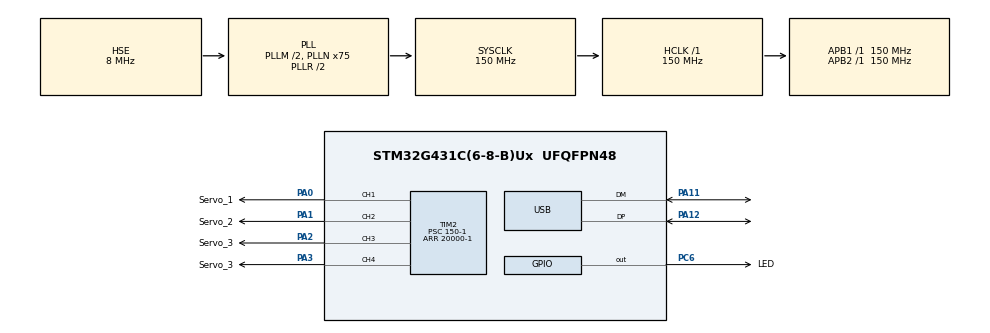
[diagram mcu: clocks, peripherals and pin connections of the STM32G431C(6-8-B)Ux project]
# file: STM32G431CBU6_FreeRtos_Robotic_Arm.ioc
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FREERTOS.CountingSemaphores01=Moving_Lock,4,Dynamic,NULL
FREERTOS.Mutexes01=Load_Mutex,Dynamic,NULL
FREERTOS.Queues01=Base_Servo_Angele,1,uint8_t,0,Dynamic,NULL,NULL;Joint1_Servo_Angle,1,uint8_t,0,Dynamic,NULL,NULL;Joint2_Servo_Angle,1,uint8_t,0,Dynamic,NULL,NULL;Gripper_Servo_Angle,1,uint8_t,0,Dynamic,NULL,NULL
FREERTOS.Tasks01=Angle_Cal,24,128,Angle_Cal_Task,Default,NULL,Dynamic,NULL,NULL;Servo_Base,16,64,Servo_Base_Task,Default,NULL,Dynamic,NULL,NULL;Servo_Joint_1,16,64,Servo_Joint_1_Task,Default,NULL,Dynamic,NULL,NULL;Servo_Gripper,16,64,Servo_Gripper_Task,Default,NULL,Dynamic,NULL,NULL;Servo_Joint_2,16,64,Servo_Joint_2_Task,Default,NULL,Dynamic,NULL,NULL
FREERTOS.configCHECK_FOR_STACK_OVERFLOW=1
FREERTOS.configMINIMAL_STACK_SIZE=64
FREERTOS.configUSE_IDLE_HOOK=0
FREERTOS.configUSE_MALLOC_FAILED_HOOK=1
Mcu.Family=STM32G4
Mcu.Name=STM32G431C(6-8-B)Ux
Mcu.Package=UFQFPN48
NVIC.PriorityGroup=NVIC_PRIORITYGROUP_4
NVIC.TIM7_IRQn=true\:15\:0\:false\:false\:true\:false\:false\:true\:true
NVIC.TimeBase=TIM7_IRQn
NVIC.TimeBaseIP=TIM7
NVIC.USB_HP_IRQn=true\:5\:0\:false\:false\:true\:true\:true\:true\:true
NVIC.USB_LP_IRQn=true\:5\:0\:false\:false\:true\:true\:false\:true\:true
PA0.GPIO_Label=Servo_1
PA0.Signal=S_TIM2_CH1
PA1.GPIO_Label=Servo_2
PA1.Signal=S_TIM2_CH2
PA11.Mode=Device
PA11.Signal=USB_DM
PA12.Mode=Device
PA12.Signal=USB_DP
PA13.Mode=Serial_Wire
PA13.Signal=SYS_JTMS-SWDIO
PA14.Mode=Serial_Wire
PA14.Signal=SYS_JTCK-SWCLK
PA2.GPIO_Label=Servo_3
PA2.Signal=S_TIM2_CH3
PA3.GPIO_Label=Servo_3
PA3.Signal=S_TIM2_CH4
PC6.GPIO_Label=LED
PC6.Signal=GPIO_Output
PF0-OSC_IN.Mode=HSE-External-Oscillator
PF0-OSC_IN.Signal=RCC_OSC_IN
PF1-OSC_OUT.Mode=HSE-External-Oscillator
PF1-OSC_OUT.Signal=RCC_OSC_OUT
ProjectManager.HeapSize=0x200
ProjectManager.StackSize=0x400
ProjectManager.TargetToolchain=STM32CubeIDE
RCC.ADC12Freq_Value=150000000
RCC.AHBFreq_Value=150000000
RCC.APB1Freq_Value=150000000
RCC.APB1TimFreq_Value=150000000
RCC.APB2Freq_Value=150000000
RCC.APB2TimFreq_Value=150000000
RCC.CK48CLockSelection=RCC_USBCLKSOURCE_HSI48
RCC.CortexFreq_Value=150000000
RCC.EXTERNAL_CLOCK_VALUE=12288000
RCC.HCLKFreq_Value=150000000
RCC.HSE_VALUE=8000000
RCC.HSI48_VALUE=48000000
RCC.HSI_VALUE=16000000
RCC.LSE_VALUE=32768
RCC.PLLM=RCC_PLLM_DIV2
RCC.PLLN=75
RCC.PLLSourceVirtual=RCC_PLLSOURCE_HSE
RCC.SYSCLKFreq_VALUE=150000000
RCC.SYSCLKSource=RCC_SYSCLKSOURCE_PLLCLK
RCC.USBFreq_Value=48000000
RCC.VCOOutputFreq_Value=300000000
SH.S_TIM2_CH1.0=TIM2_CH1,PWM Generation1 CH1
SH.S_TIM2_CH2.0=TIM2_CH2,PWM Generation2 CH2
SH.S_TIM2_CH3.0=TIM2_CH3,PWM Generation3 CH3
SH.S_TIM2_CH4.0=TIM2_CH4,PWM Generation4 CH4
TIM2.AutoReloadPreload=TIM_AUTORELOAD_PRELOAD_ENABLE
TIM2.Channel-PWM\ Generation1\ CH1=TIM_CHANNEL_1
TIM2.Channel-PWM\ Generation2\ CH2=TIM_CHANNEL_2
TIM2.Channel-PWM\ Generation3\ CH3=TIM_CHANNEL_3
TIM2.Channel-PWM\ Generation4\ CH4=TIM_CHANNEL_4
TIM2.PeriodNoDither=20000-1
TIM2.Prescaler=150-1
USB_DEVICE.CLASS_NAME_FS=CDC
USB_DEVICE.PRODUCT_STRING_CDC_FS=Robotic_Arm
USB_DEVICE.VirtualMode=Cdc
USB_DEVICE.VirtualModeFS=Cdc_FS
VP_FREERTOS_VS_CMSIS_V2.Mode=CMSIS_V2
VP_SYS_VS_DBSignals.Mode=DisableDeadBatterySignals
VP_SYS_VS_tim7.Mode=TIM7
VP_TIM2_VS_ClockSourceINT.Mode=Internal
VP_USB_DEVICE_VS_USB_DEVICE_CDC_FS.Mode=CDC_FS
board=custom

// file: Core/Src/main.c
/* USER CODE BEGIN Header */
/**
  ******************************************************************************
  * @file           : main.c
  * @brief          : Main program body
  ******************************************************************************
  * @attention
  *
  * Copyright (c) 2024 STMicroelectronics.
  * All rights reserved.
  *
  * This software is licensed under terms that can be found in the LICENSE file
  * in the root directory of this software component.
  * If no LICENSE file comes with this software, it is provided AS-IS.
  *
  ******************************************************************************
  */
/* USER CODE END Header */
#include "main.h"
#include "cmsis_os.h"
#include "usb_device.h"

/* USER CODE BEGIN Includes */
#include "usbd_cdc_if.h"
#include "string.h"
#include "semphr.h"
#include "FreeRTOS.h"
/* USER CODE END Includes */

/* USER CODE BEGIN PD */
#define Servo_no_Base 	 	 1
#define Servo_no_1 		 	 2
#define Servo_no_2 		 	 3
#define Servo_no_Gripper 	 4
/* USER CODE END PD */

/* USER CODE BEGIN PM */
#define PI 3.14159265358979323846
/* USER CODE END PM */

TIM_HandleTypeDef htim2;

/* Definitions for Angle_Cal */
osThreadId_t Angle_CalHandle;
const osThreadAttr_t Angle_Cal_attributes = {
  .name = "Angle_Cal",
  .priority = (osPriority_t) osPriorityNormal,
  .stack_size = 128 * 4
};
/* Definitions for Servo_Base */
osThreadId_t Servo_BaseHandle;
const osThreadAttr_t Servo_Base_attributes = {
  .name = "Servo_Base",
  .priority = (osPriority_t) osPriorityBelowNormal,
  .stack_size = 64 * 4
};
/* Definitions for Servo_Joint_1 */
osThreadId_t Servo_Joint_1Handle;
const osThreadAttr_t Servo_Joint_1_attributes = {
  .name = "Servo_Joint_1",
  .priority = (osPriority_t) osPriorityBelowNormal,
  .stack_size = 64 * 4
};
/* Definitions for Servo_Gripper */
osThreadId_t Servo_GripperHandle;
const osThreadAttr_t Servo_Gripper_attributes = {
  .name = "Servo_Gripper",
  .priority = (osPriority_t) osPriorityBelowNormal,
  .stack_size = 64 * 4
};
/* Definitions for Servo_Joint_2 */
osThreadId_t Servo_Joint_2Handle;
const osThreadAttr_t Servo_Joint_2_attributes = {
  .name = "Servo_Joint_2",
  .priority = (osPriority_t) osPriorityBelowNormal,
  .stack_size = 64 * 4
};
/* Definitions for Base_Servo_Angele */
osMessageQueueId_t Base_Servo_AngeleHandle;
const osMessageQueueAttr_t Base_Servo_Angele_attributes = {
  .name = "Base_Servo_Angele"
};
/* Definitions for Joint1_Servo_Angle */
osMessageQueueId_t Joint1_Servo_AngleHandle;
const osMessageQueueAttr_t Joint1_Servo_Angle_attributes = {
  .name = "Joint1_Servo_Angle"
};
/* Definitions for Joint2_Servo_Angle */
osMessageQueueId_t Joint2_Servo_AngleHandle;
const osMessageQueueAttr_t Joint2_Servo_Angle_attributes = {
  .name = "Joint2_Servo_Angle"
};
/* Definitions for Gripper_Servo_Angle */
osMessageQueueId_t Gripper_Servo_AngleHandle;
const osMessageQueueAttr_t Gripper_Servo_Angle_attributes = {
  .name = "Gripper_Servo_Angle"
};
/* Definitions for Load_Mutex */
osMutexId_t Load_MutexHandle;
const osMutexAttr_t Load_Mutex_attributes = {
  .name = "Load_Mutex"
};
/* Definitions for Moving_Lock */
osSemaphoreId_t Moving_LockHandle;
const osSemaphoreAttr_t Moving_Lock_attributes = {
  .name = "Moving_Lock"
};
/* USER CODE BEGIN PV */
uint8_t Raw_VCP_Data[64];
uint8_t Vcp_Data_Available = 0;
uint8_t Servo_Angeles[4];
uint8_t Axis_Points[3];
osStatus_t status_base,status_1,status_2,status_Gripper;

double Px, Py, Pz; 			     						// Target Position
double L1 = 65.0, L2 = 75.0 , L3 = 75.0; 				// Connection Lenght
double theta1, theta2, theta3;  						// Joint Angle

/* USER CODE END PV */

void SystemClock_Config(void);
static void MX_GPIO_Init(void);
static void MX_TIM2_Init(void);
void Angle_Cal_Task(void *argument);
void Servo_Base_Task(void *argument);
void Servo_Joint_1_Task(void *argument);
void Servo_Gripper_Task(void *argument);
void Servo_Joint_2_Task(void *argument);

int main(void)
{

  /* MCU Configuration--------------------------------------------------------*/

  /* Reset of all peripherals, Initializes the Flash interface and the Systick. */
  HAL_Init();

  /* Configure the system clock */
  SystemClock_Config();

  /* Initialize all configured peripherals */
  MX_GPIO_Init();
  MX_TIM2_Init();

  /* Init scheduler */
  osKernelInitialize();
  /* Create the mutex(es) */
  /* creation of Load_Mutex */
  Load_MutexHandle = osMutexNew(&Load_Mutex_attributes);

  /* Create the semaphores(s) */
  /* creation of Moving_Lock */
  Moving_LockHandle = osSemaphoreNew(4, 4, &Moving_Lock_attributes);

  /* Create the queue(s) */
  /* creation of Base_Servo_Angele */
  Base_Servo_AngeleHandle = osMessageQueueNew (1, sizeof(uint8_t), &Base_Servo_Angele_attributes);

  /* creation of Joint1_Servo_Angle */
  Joint1_Servo_AngleHandle = osMessageQueueNew (1, sizeof(uint8_t), &Joint1_Servo_Angle_attributes);

  /* creation of Joint2_Servo_Angle */
  Joint2_Servo_AngleHandle = osMessageQueueNew (1, sizeof(uint8_t), &Joint2_Servo_Angle_attributes);

  /* creation of Gripper_Servo_Angle */
  Gripper_Servo_AngleHandle = osMessageQueueNew (1, sizeof(uint8_t), &Gripper_Servo_Angle_attributes);

  /* Create the thread(s) */
  /* creation of Angle_Cal */
  Angle_CalHandle = osThreadNew(Angle_Cal_Task, NULL, &Angle_Cal_attributes);

  /* creation of Servo_Base */
  Servo_BaseHandle = osThreadNew(Servo_Base_Task, NULL, &Servo_Base_attributes);

  /* creation of Servo_Joint_1 */
  Servo_Joint_1Handle = osThreadNew(Servo_Joint_1_Task, NULL, &Servo_Joint_1_attributes);

  /* creation of Servo_Gripper */
  Servo_GripperHandle = osThreadNew(Servo_Gripper_Task, NULL, &Servo_Gripper_attributes);

  /* creation of Servo_Joint_2 */
  Servo_Joint_2Handle = osThreadNew(Servo_Joint_2_Task, NULL, &Servo_Joint_2_attributes);

  /* Start scheduler */
  osKernelStart();

  /* We should never get here as control is now taken by the scheduler */

  /* Infinite loop */
  while (1)
  {

  }
}

void SystemClock_Config(void)
{
  RCC_OscInitTypeDef RCC_OscInitStruct = {0};
  RCC_ClkInitTypeDef RCC_ClkInitStruct = {0};

  /** Configure the main internal regulator output voltage
  */
  HAL_PWREx_ControlVoltageScaling(PWR_REGULATOR_VOLTAGE_SCALE1);

  /** Initializes the RCC Oscillators according to the specified parameters
  * in the RCC_OscInitTypeDef structure.
  */
  RCC_OscInitStruct.OscillatorType = RCC_OSCILLATORTYPE_HSI48|RCC_OSCILLATORTYPE_HSE;
  RCC_OscInitStruct.HSEState = RCC_HSE_ON;
  RCC_OscInitStruct.HSI48State = RCC_HSI48_ON;
  RCC_OscInitStruct.PLL.PLLState = RCC_PLL_ON;
  RCC_OscInitStruct.PLL.PLLSource = RCC_PLLSOURCE_HSE;
  RCC_OscInitStruct.PLL.PLLM = RCC_PLLM_DIV2;
  RCC_OscInitStruct.PLL.PLLN = 75;
  RCC_OscInitStruct.PLL.PLLP = RCC_PLLP_DIV2;
  RCC_OscInitStruct.PLL.PLLQ = RCC_PLLQ_DIV2;
  RCC_OscInitStruct.PLL.PLLR = RCC_PLLR_DIV2;
  if (HAL_RCC_OscConfig(&RCC_OscInitStruct) != HAL_OK)
  {
    Error_Handler();
  }

  /** Initializes the CPU, AHB and APB buses clocks
  */
  RCC_ClkInitStruct.ClockType = RCC_CLOCKTYPE_HCLK|RCC_CLOCKTYPE_SYSCLK
                              |RCC_CLOCKTYPE_PCLK1|RCC_CLOCKTYPE_PCLK2;
  RCC_ClkInitStruct.SYSCLKSource = RCC_SYSCLKSOURCE_PLLCLK;
  RCC_ClkInitStruct.AHBCLKDivider = RCC_SYSCLK_DIV1;
  RCC_ClkInitStruct.APB1CLKDivider = RCC_HCLK_DIV1;
  RCC_ClkInitStruct.APB2CLKDivider = RCC_HCLK_DIV1;

  if (HAL_RCC_ClockConfig(&RCC_ClkInitStruct, FLASH_LATENCY_4) != HAL_OK)
  {
    Error_Handler();
  }
}

static void MX_TIM2_Init(void)
{

  TIM_ClockConfigTypeDef sClockSourceConfig = {0};
  TIM_MasterConfigTypeDef sMasterConfig = {0};
  TIM_OC_InitTypeDef sConfigOC = {0};

  htim2.Instance = TIM2;
  htim2.Init.Prescaler = 150-1;
  htim2.Init.CounterMode = TIM_COUNTERMODE_UP;
  htim2.Init.Period = 19999;
  htim2.Init.ClockDivision = TIM_CLOCKDIVISION_DIV1;
  htim2.Init.AutoReloadPreload = TIM_AUTORELOAD_PRELOAD_ENABLE;
  if (HAL_TIM_Base_Init(&htim2) != HAL_OK)
  {
    Error_Handler();
  }
  sClockSourceConfig.ClockSource = TIM_CLOCKSOURCE_INTERNAL;
  if (HAL_TIM_ConfigClockSource(&htim2, &sClockSourceConfig) != HAL_OK)
  {
    Error_Handler();
  }
  if (HAL_TIM_PWM_Init(&htim2) != HAL_OK)
  {
    Error_Handler();
  }
  sMasterConfig.MasterOutputTrigger = TIM_TRGO_RESET;
  sMasterConfig.MasterSlaveMode = TIM_MASTERSLAVEMODE_DISABLE;
  if (HAL_TIMEx_MasterConfigSynchronization(&htim2, &sMasterConfig) != HAL_OK)
  {
    Error_Handler();
  }
  sConfigOC.OCMode = TIM_OCMODE_PWM1;
  sConfigOC.Pulse = 0;
  sConfigOC.OCPolarity = TIM_OCPOLARITY_HIGH;
  sConfigOC.OCFastMode = TIM_OCFAST_DISABLE;
  if (HAL_TIM_PWM_ConfigChannel(&htim2, &sConfigOC, TIM_CHANNEL_1) != HAL_OK)
  {
    Error_Handler();
  }
  if (HAL_TIM_PWM_ConfigChannel(&htim2, &sConfigOC, TIM_CHANNEL_2) != HAL_OK)
  {
    Error_Handler();
  }
  if (HAL_TIM_PWM_ConfigChannel(&htim2, &sConfigOC, TIM_CHANNEL_3) != HAL_OK)
  {
    Error_Handler();
  }
  if (HAL_TIM_PWM_ConfigChannel(&htim2, &sConfigOC, TIM_CHANNEL_4) != HAL_OK)
  {
    Error_Handler();
  }
  HAL_TIM_MspPostInit(&htim2);

}

static void MX_GPIO_Init(void)
{
  GPIO_InitTypeDef GPIO_InitStruct = {0};

  /* GPIO Ports Clock Enable */
  __HAL_RCC_GPIOF_CLK_ENABLE();
  __HAL_RCC_GPIOA_CLK_ENABLE();
  __HAL_RCC_GPIOC_CLK_ENABLE();

  /*Configure GPIO pin Output Level */
  HAL_GPIO_WritePin(LED_GPIO_Port, LED_Pin, GPIO_PIN_RESET);

  /*Configure GPIO pin : LED_Pin */
  GPIO_InitStruct.Pin = LED_Pin;
  GPIO_InitStruct.Mode = GPIO_MODE_OUTPUT_PP;
  GPIO_InitStruct.Pull = GPIO_NOPULL;
  GPIO_InitStruct.Speed = GPIO_SPEED_FREQ_LOW;
  HAL_GPIO_Init(LED_GPIO_Port, &GPIO_InitStruct);

}

/* USER CODE BEGIN 4 */
void Pwm_WriteServo(uint8_t Servo_NO,uint8_t Angle){
	    // Ensure position is between 0 and 180
	    if (Angle > 180) Angle = 180;

	    // Map position (0-180) to CCR value
	    uint32_t pulse_length = (499 + (Angle * 2000) / 180); // Pulse width in microseconds (500 to 2500 us)
        switch (Servo_NO) {
            case 1:
            	__HAL_TIM_SET_COMPARE(&htim2, TIM_CHANNEL_1, pulse_length);
                break;
            case 2:
            	__HAL_TIM_SET_COMPARE(&htim2, TIM_CHANNEL_2, pulse_length);
                break;
            case 3:
            	__HAL_TIM_SET_COMPARE(&htim2, TIM_CHANNEL_3, pulse_length);
                break;
            case 4:
            	__HAL_TIM_SET_COMPARE(&htim2, TIM_CHANNEL_4, pulse_length);
                break;
        }
}
static inline void Servo_RampDelay(uint32_t step_delay_ms)
{
    if (step_delay_ms == 0U) {
        osThreadYield();
        return;
    }

    TickType_t delay_ticks = pdMS_TO_TICKS(step_delay_ms);

    if (delay_ticks == 0U) {
        delay_ticks = 1U;
    }

    osDelay(delay_ticks);
}

void Servo_Ramp(uint8_t start_angle, uint8_t end_angle, uint16_t step_delay,uint8_t Servo_NO) {
    if (start_angle < end_angle) {
    if (start_angle <= end_angle) {
        for (uint8_t pos = start_angle; pos <= end_angle; pos++) {
        	Pwm_WriteServo(Servo_NO,pos);
            HAL_Delay(step_delay);
                Pwm_WriteServo(Servo_NO,pos);
            if (pos == end_angle) {
                break;
            }
            Servo_RampDelay(step_delay);
        }
    } else {
        for (uint8_t pos = start_angle; pos >= end_angle; pos--) {
        	Pwm_WriteServo(Servo_NO,pos);
            HAL_Delay(step_delay);
        for (uint8_t pos = start_angle; ; pos--) {
                Pwm_WriteServo(Servo_NO,pos);
            if (pos == end_angle) {
                break;
            }
            Servo_RampDelay(step_delay);
        }
    }
}
int inverseKinematics(double Px, double Py, double Pz, double L1, double L2, double L3, double *theta1, double *theta2, double *theta3) {
	*theta1 = atan2(Py, Px);
    double r = sqrt(Px * Px + Py * Py);
    double s = Pz;
    double D = (r * r + s * s - L1 * L1 - L2 * L2) / (2 * L1 * L2);
    if(fabs(D) > 1.0) {
        return -1; // Not possible
    }
    *theta3 = atan2(-sqrt(1 - D * D), D);
    double phi = atan2(s, r);
    double psi = atan2(L2 * sin(*theta3), L1 + L2 * cos(*theta3));
    *theta2 = phi - psi;
    return 0; // Success
}

void MovetoAngle() {
	  if (xSemaphoreTake(Moving_LockHandle, portMAX_DELAY) == pdTRUE) {
		  if (xSemaphoreTake(Load_MutexHandle, portMAX_DELAY) == pdTRUE) {
			  //Queue Load
			  uint8_t count = osMessageQueueGetCount(Base_Servo_AngeleHandle);
			  if(count==0){
			  status_base = osMessageQueuePut(Base_Servo_AngeleHandle, &Servo_Angeles[0],8, 100);
			  if (status_base != osOK) {
				  CDC_Transmit_FS("Sender Base Queue Error\n", strlen("Sender Base Queue Error\n"));
				 }
			  }
			  else{
				  CDC_Transmit_FS("Sender Base Queue Full\n", strlen("Sender Base Queue Full\n"));
			  }
			  count = osMessageQueueGetCount(Joint1_Servo_AngleHandle);
			  if(count==0){
				status_1 = osMessageQueuePut(Joint1_Servo_AngleHandle, &Servo_Angeles[1],8, 100);
			  if (status_1 != osOK) {
				CDC_Transmit_FS("Sender Joint1 Queue Error\n", strlen("Sender Base Queue Error\n"));
					}
				}
			  else{
				  CDC_Transmit_FS("Sender Joint1 Queue Full\n", strlen("Sender Base Queue Full\n"));
			  }
			  count = osMessageQueueGetCount(Joint2_Servo_AngleHandle);
			  if(count==0){
				status_2 = osMessageQueuePut(Joint2_Servo_AngleHandle, &Servo_Angeles[2],8, 100);
			  if (status_2 != osOK) {
				CDC_Transmit_FS("Sender Joint2 Queue Error\n", strlen("Sender Base Queue Error\n"));
					}
				}
			  else{
				  CDC_Transmit_FS("Sender Joint2 Queue Full\n", strlen("Sender Base Queue Full\n"));
			  }
			  count = osMessageQueueGetCount(Gripper_Servo_AngleHandle);
			  if(count==0){
				status_Gripper = osMessageQueuePut(Gripper_Servo_AngleHandle, &Servo_Angeles[3],8, 100);
			  if (status_Gripper != osOK) {
				CDC_Transmit_FS("Sender Gripper Queue Error\n", strlen("Sender Base Queue Error\n"));
					}
				  }
			  else{
			  CDC_Transmit_FS("Sender Gripper Queue Full\n", strlen("Sender Base Queue Full\n"));
			  }
			}
		  else {
			  CDC_Transmit_FS("Failed to take the mutex\n", strlen("Failed to take the mutex\n"));
		  }
		  xSemaphoreGive(Load_MutexHandle);
	  }

}
/* USER CODE END 4 */

void Angle_Cal_Task(void *argument)
{
  /* init code for USB_Device */
  MX_USB_Device_Init();
  /* USER CODE BEGIN 5 */
  CDC_Transmit_FS("VCP Started\n", strlen("VCP Started\n"));
  /* Infinite loop */
  for(;;)
  {
	  if(Vcp_Data_Available == 1){
		  Vcp_Data_Available =0;
		  //Data Format Vcp_Data_Available = 1&1&90&90&90
		  	  	  	  	   //mode&Base&Joint1&Joint2&Gripper
		  if(Raw_VCP_Data[0]==49)		  //Joint Angle Control Mode
		  {
			  CDC_Transmit_FS("Joint Angle Control Mode\n", strlen("Joint Angle Control Mode\n"));
			  char *token = strtok(Raw_VCP_Data, "&");
			  int i = 0 ;
			  while (token != NULL)
			      {
			          printf("%s\n", token);
			          token = strtok(NULL, "&");
			          osDelay(100);
			          //CDC_Transmit_FS(token, strlen(token));
			          int Angle = atoi(token);
			          Servo_Angeles[i]=Angle;
			          i++;
			      }
			  for(int i = 0;i<=3;i++){
				  if(Servo_Angeles[i] <= 0){
					  Servo_Angeles[i] = 1;
				  }
				  else if(Servo_Angeles[i] >= 180){
					  Servo_Angeles[i] = 180;
				  }
			  }
			  MovetoAngle();
		  	}
		  else if(Raw_VCP_Data[0]==50)			//Coordinate mode
		  {
			  CDC_Transmit_FS("Coordinate mode\n", strlen("Coordinate mode\n"));
			  char *token = strtok(Raw_VCP_Data, "&");
			  int i = 0 ;
			  while (token != NULL)
			      {
			          printf("%s\n", token);
			          token = strtok(NULL, "&");
			          osDelay(100);
			          //CDC_Transmit_FS(token, strlen(token));
			          int Point = atoi(token);
			          Axis_Points[i]=Point;
			          i++;
			      }
			    if(inverseKinematics(Axis_Points[0], Axis_Points[1], Axis_Points[2], L1, L2, L3, &theta1, &theta2, &theta3) == 0) {
			    	// Converting radian to degree
			    	Servo_Angeles[0] = theta1 * 180.0 / PI; // angle for Base part of the arm
			    	Servo_Angeles[1] = 140 - (theta2 * 180.0 / PI);	// angle for first part of the arm
			    	Servo_Angeles[2] = 120 + (theta3 * 180.0 / PI); // angle for second part of the arm
			    } else {
			    	CDC_Transmit_FS("Point is not in work area\n", strlen("Point is not in work area\n"));
			    }
			  for(int i = 0;i<=3;i++){
				  if(Servo_Angeles[i] <= 0){
					  Servo_Angeles[i] = 1;
				  }
				  else if(Servo_Angeles[i] >= 180){
					  Servo_Angeles[i] = 180;
				  }
			  }

			  MovetoAngle();
		  }
		  else									//ERROR
	  	  {
			  CDC_Transmit_FS("Invalid Selection\n", strlen("Invalid Selection\n"));
	  	  }

	 }
	 osDelay(10);
  }
  /* USER CODE END 5 */
}

void Servo_Base_Task(void *argument)
{
  /* USER CODE BEGIN Servo_Base_Task */
    HAL_TIM_PWM_Start(&htim2, TIM_CHANNEL_1);
    uint8_t startPos_Base = 60; // Starting Position
    int const step_delay_Base = 30; // Steps Delay
  /* Infinite loop */
  for(;;)
  {
	  uint8_t received_Angle_Base;// Target Postion
	  uint8_t count_Base = osMessageQueueGetCount(Base_Servo_AngeleHandle);
	  if(count_Base>0){
		  status_base = osMessageQueueGet(Base_Servo_AngeleHandle, &received_Angle_Base, 8, 100);
		  if (status_base == osOK) {
			  if(startPos_Base !=received_Angle_Base){
				  Servo_Ramp(startPos_Base,received_Angle_Base,step_delay_Base,Servo_no_Base);
			      }
		  startPos_Base =received_Angle_Base;
		  xSemaphoreGive(Moving_LockHandle);
		  	  }
		  }
	  else {
		  osDelay(100);
		  }
	  }
	  osDelay(100);
  /* USER CODE END Servo_Base_Task */
}

void Servo_Joint_1_Task(void *argument)
{
  /* USER CODE BEGIN Servo_Joint_1_Task */
    HAL_TIM_PWM_Start(&htim2, TIM_CHANNEL_2);
    uint8_t startPos_1 = 60; // Starting Position
    uint8_t const step_delay_1 = 30; // Steps Delay
  /* Infinite loop */
  for(;;)
  {
	  uint8_t received_Angle_1;// Target Postion
	  uint8_t count_1 = osMessageQueueGetCount(Joint1_Servo_AngleHandle);
	  if(count_1>0){
		  status_1 = osMessageQueueGet(Joint1_Servo_AngleHandle, &received_Angle_1, 8, 100);
		  if (status_1 == osOK) {
			  if(startPos_1 !=received_Angle_1){
				  Servo_Ramp(startPos_1,received_Angle_1,step_delay_1,Servo_no_1);
		      }
		startPos_1 =received_Angle_1;
		xSemaphoreGive(Moving_LockHandle);
		  	  	  }
	  	  }
	  else {
		  osDelay(100);
	  	  }

	  osDelay(100);
  }
  /* USER CODE END Servo_Joint_1_Task */
}

void Servo_Gripper_Task(void *argument)
{
  /* USER CODE BEGIN Servo_Gripper_Task */
    HAL_TIM_PWM_Start(&htim2, TIM_CHANNEL_3);
    uint8_t startPos_Gripper = 60; // Starting Position
    uint8_t const step_delay_Gripper = 30; // Steps Delay
  /* Infinite loop */
  for(;;)
  {
	  uint8_t received_Angle_Gripper;// Target Postion
	  uint8_t count_Gripper = osMessageQueueGetCount(Gripper_Servo_AngleHandle);
	  if(count_Gripper>0){
		  status_Gripper = osMessageQueueGet(Gripper_Servo_AngleHandle, &received_Angle_Gripper, 8, 100);
		  if (status_Gripper == osOK) {
			  if(startPos_Gripper != received_Angle_Gripper){
				  Servo_Ramp(startPos_Gripper, received_Angle_Gripper,step_delay_Gripper,Servo_no_Gripper);
		      }
		startPos_Gripper = received_Angle_Gripper;
		xSemaphoreGive(Moving_LockHandle);
		  	  	  }
	  	  }
	  else {
		  osDelay(100);
	  	  }

	  osDelay(100);
  }
  /* USER CODE END Servo_Gripper_Task */
}

void Servo_Joint_2_Task(void *argument)
{
  /* USER CODE BEGIN Servo_Joint_2_Task */
    HAL_TIM_PWM_Start(&htim2, TIM_CHANNEL_4);
    uint8_t startPos_2 = 60; // Starting Position
    uint8_t const step_delay_2 = 30; // Steps Delay
  /* Infinite loop */
  for(;;)
  {
	  uint8_t received_Angle_2;// Target Postion
	  uint8_t count_2 = osMessageQueueGetCount(Joint2_Servo_AngleHandle);
	  if(count_2>0){
		  status_2 = osMessageQueueGet(Joint2_Servo_AngleHandle, &received_Angle_2, 8, 100);
		  if (status_2 == osOK) {
			  if(startPos_2 !=received_Angle_2){
				  Servo_Ramp(startPos_2,received_Angle_2,step_delay_2,Servo_no_2);
		      }
		startPos_2=received_Angle_2;
		xSemaphoreGive(Moving_LockHandle);
		  	  	  }
	  	  }
	  else {
		  osDelay(100);
	  	  }
	  osDelay(100);
  }
  /* USER CODE END Servo_Joint_2_Task */
}

void HAL_TIM_PeriodElapsedCallback(TIM_HandleTypeDef *htim)
{
  if (htim->Instance == TIM7) {
    HAL_IncTick();
  }
}

void Error_Handler(void)
{
  __disable_irq();
  while (1)
  {
  }
}

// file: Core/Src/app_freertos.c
/* USER CODE BEGIN Header */
/**
  ******************************************************************************
  * File Name          : app_freertos.c
  * Description        : Code for freertos applications
  ******************************************************************************
  * @attention
  *
  * Copyright (c) 2024 STMicroelectronics.
  * All rights reserved.
  *
  * This software is licensed under terms that can be found in the LICENSE file
  * in the root directory of this software component.
  * If no LICENSE file comes with this software, it is provided AS-IS.
  *
  ******************************************************************************
  */
/* USER CODE END Header */

#include "FreeRTOS.h"
#include "task.h"
#include "main.h"

/* Hook prototypes */
void vApplicationStackOverflowHook(xTaskHandle xTask, signed char *pcTaskName);
void vApplicationMallocFailedHook(void);

/* USER CODE BEGIN 4 */
void vApplicationStackOverflowHook(xTaskHandle xTask, signed char *pcTaskName)
{
   /* Run time stack overflow checking is performed if
   configCHECK_FOR_STACK_OVERFLOW is defined to 1 or 2. This hook function is
   called if a stack overflow is detected. */
   char msg[50];
   snprintf(msg, 50, "Stack Over Flowed in task: %s\n", pcTaskName);
   CDC_Transmit_FS(msg, strlen(msg));
   NVIC_SystemReset();// Restarts the system using NVIC System Reset
}
/* USER CODE END 4 */

/* USER CODE BEGIN 5 */
void vApplicationMallocFailedHook(void)
{
   /* vApplicationMallocFailedHook() will only be called if
   configUSE_MALLOC_FAILED_HOOK is set to 1 in FreeRTOSConfig.h. It is a hook
   function that will get called if a call to pvPortMalloc() fails.
   pvPortMalloc() is called internally by the kernel whenever a task, queue,
   timer or semaphore is created. It is also called by various parts of the
   demo application. If heap_1.c or heap_2.c are used, then the size of the
   heap available to pvPortMalloc() is defined by configTOTAL_HEAP_SIZE in
   FreeRTOSConfig.h, and the xPortGetFreeHeapSize() API function can be used
   to query the size of free heap space that remains (although it does not
   provide information on how the remaining heap might be fragmented). */
   CDC_Transmit_FS("Memory Allocation Error\n", strlen("Memory Allocation Error\n"));
}
/* USER CODE END 5 */
